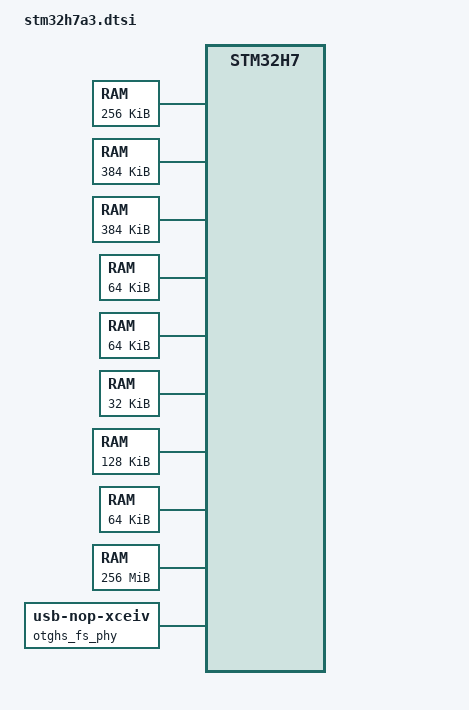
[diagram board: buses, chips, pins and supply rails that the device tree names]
/*
 * Copyright (c) 2021 Electrolance Solutions
 *
 * SPDX-License-Identifier: Apache-2.0
 */

#include <st/h7/stm32h7.dtsi>
#include <zephyr/dt-bindings/display/panel.h>
#include <zephyr/dt-bindings/flash_controller/ospi.h>

/delete-node/ &adc3;

/ {
	soc {
		compatible = "st,stm32h7a3", "st,stm32h7", "simple-bus";

		flash-controller@52002000 {
			flash0: flash@8000000 {
				compatible = "st,stm32-nv-flash", "soc-nv-flash";
				write-block-size = <16>;
				erase-block-size = <DT_SIZE_K(8)>;
				/* maximum erase time for a 8K sector */
				max-erase-time = <3>;
			};
		};

		dmamux1: dmamux@40020800 {
			dma-requests= <107>;
		};

		dmamux2: dmamux@58025800 {
			dma-requests= <107>;
		};

		usbotg_hs: usb@40040000 {
			compatible = "st,stm32-otghs";
			reg = <0x40040000 0x40000>;
			interrupts = <77 0>, <74 0>, <75 0>;
			interrupt-names = "otghs", "ep1_out", "ep1_in";
			num-bidir-endpoints = <9>;
			ram-size = <4096>;
			maximum-speed = "full-speed";
			clocks = <&rcc STM32_CLOCK(AHB1, 25U)>,
				 <&rcc STM32_SRC_HSI48 USB_SEL(3)>;
			phys = <&otghs_fs_phy>;
			status = "disabled";
		};

		ltdc: display-controller@50001000 {
			compatible = "st,stm32-ltdc";
			reg = <0x50001000 0x200>;
			interrupts = <88 0>, <89 0>;
			interrupt-names = "ltdc", "ltdc_er";
			clocks = <&rcc STM32_CLOCK(APB3, 3U)>;
			resets = <&rctl STM32_RESET(APB3, 3U)>;
			status = "disabled";
		};

		octospi1: spi@52005000 {
			compatible = "st,stm32-ospi";
			reg = <0x52005000 0x1000>;
			interrupts = <92 0>;
			clock-names = "ospix", "ospi-ker";
			clocks = <&rcc STM32_CLOCK(AHB3, 14U)>,
				<&rcc STM32_SRC_PLL1_Q OSPI_SEL(1)>;
			#address-cells = <1>;
			#size-cells = <1>;
			status = "disabled";
		};

		octospi2: spi@5200a000 {
			compatible = "st,stm32-ospi";
			reg = <0x5200a000 0x1000>;
			interrupts = <150 0>;
			clock-names = "ospix", "ospi-ker";
			clocks = <&rcc STM32_CLOCK(AHB3, 19U)>,
				<&rcc STM32_SRC_PLL1_Q OSPI_SEL(1)>;
			#address-cells = <1>;
			#size-cells = <1>;
			status = "disabled";
		};

		i2s6: i2s@58001400 {
			compatible = "st,stm32h7-i2s", "st,stm32-i2s";
			#address-cells = <1>;
			#size-cells = <0>;
			reg = <0x58001400 0x400>;
			clocks = <&rcc STM32_CLOCK(APB4, 5U)>,
				 <&rcc STM32_SRC_PLL1_Q SPI6_SEL(0)>;
			dmas = <&dmamux2 0 12 (STM32_DMA_PERIPH_TX | STM32_DMA_PRIORITY_HIGH)
				&dmamux2 1 11 (STM32_DMA_PERIPH_RX | STM32_DMA_PRIORITY_HIGH)>;
			dma-names = "tx", "rx";
			interrupts = <86 0>;
			status = "disabled";
		};

		rng: rng@48021800 {
			nist-config = <0xf00d00>;
			health-test-magic = <0x17590abc>;
			health-test-config = <0x72ac>;
		};

		digi_die_temp: digi_dietemp@58006800 {
			compatible = "st,stm32-digi-temp";
			reg = <0x58006800 0x400>;
			interrupts = <147 0>;
			interrupt-names = "digi_temp";
			clocks = <&rcc STM32_CLOCK(APB4, 26U)>;
			status = "disabled";
		};
	};

	/* System data RAM accessible over AXI bus: AXI SRAM1 in CD domain */
	sram0: memory@24000000 {
		compatible = "mmio-sram";
		reg = <0x24000000 DT_SIZE_K(256)>;
	};

	/* System data RAM accessible over AXI bus: AXI SRAM2 in CD domain */
	sram1: memory@24040000 {
		compatible = "zephyr,memory-region", "mmio-sram";
		reg = <0x24040000 DT_SIZE_K(384)>;
		zephyr,memory-region = "SRAM1";
	};

	/* System data RAM accessible over AXI bus: AXI SRAM3 in CD domain */
	sram2: memory@240A0000 {
		compatible = "zephyr,memory-region", "mmio-sram";
		reg = <0x240A0000 DT_SIZE_K(384)>;
		zephyr,memory-region = "SRAM2";
	};

	/* System data RAM accessible over AHB bus: SRAM1 in CD domain */
	sram3: memory@30000000 {
		compatible = "zephyr,memory-region", "mmio-sram";
		reg = <0x30000000 DT_SIZE_K(64)>;
		zephyr,memory-region = "SRAM3";
	};

	/* System data RAM accessible over AHB bus: SRAM2 in CD domain  */
	sram4: memory@30010000 {
		compatible = "zephyr,memory-region", "mmio-sram";
		reg = <0x30010000 DT_SIZE_K(64)>;
		zephyr,memory-region = "SRAM4";
	};

	/* System data RAM accessible over AHB bus: SRD SRAM in SRD domain  */
	sram5: memory@38000000 {
		compatible = "zephyr,memory-region", "mmio-sram";
		reg = <0x38000000 DT_SIZE_K(32)>;
		zephyr,memory-region = "SRAM5";
	};

	dtcm: memory@20000000 {
		compatible = "zephyr,memory-region", "arm,dtcm";
		reg = <0x20000000 DT_SIZE_K(128)>;
		zephyr,memory-region = "DTCM";
	};

	itcm: memory@0 {
		compatible = "zephyr,memory-region", "arm,itcm";
		reg = <0x00000000 DT_SIZE_K(64)>;
		zephyr,memory-region = "ITCM";
	};

	ext_memory2: memory@70000000 {
		compatible = "zephyr,memory-region";
		reg = <0x70000000 DT_SIZE_M(256)>; /* max addressable area */
		zephyr,memory-region = "EXTMEM2";
		zephyr,memory-attr = <( DT_MEM_ARM(ATTR_MPU_EXTMEM) )>;
	};

	otghs_fs_phy: otghs_fs_phy {
		compatible = "usb-nop-xceiv";
		#phy-cells = <0>;
	};

	die_temp: dietemp {
		ts-cal1-addr = <0x08FFF814>;
		ts-cal2-addr = <0x08FFF818>;
		io-channels = <&adc2 18>;
		ts-cal2-temp = <130>;
	};

	vref: vref {
		vrefint-cal-addr = <0x08FFF810>;
		io-channels = <&adc2 19>;
	};

	vbat: vbat {
		io-channels = <&adc2 14>;
	};
};
